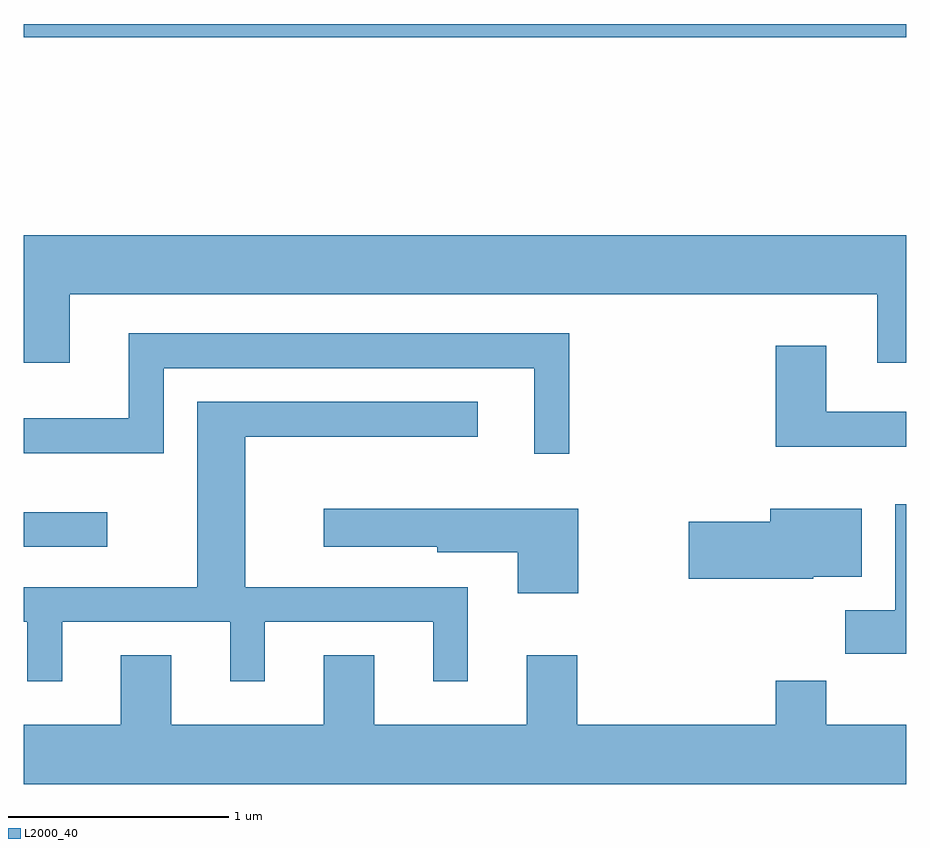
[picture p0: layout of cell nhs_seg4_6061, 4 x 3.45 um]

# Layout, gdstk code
import gdstk
lib = gdstk.Library(unit=1e-6, precision=1e-09)
def R(c, l, rs):  # rectangles x0, y0, x1, y1
    for r in rs: c.add(gdstk.rectangle(r[:2], r[2:], *l))
def P(c, l, *ps):  # polygons
    for p in ps: c.add(gdstk.Polygon(p, *l))
L2000_40 = (2000, 40)

nhs_seg4_6061 = lib.new_cell('nhs_seg4_6061')
R(nhs_seg4_6061, L2000_40, [(363.611,1273.611,363.988,1273.769), (363.611,1275.921,367.611,1275.982)])
P(nhs_seg4_6061, L2000_40, [(363.819,1274.756),(367.481,1274.756),(367.481,1274.446),(367.611,1274.446),(367.611,1275.024),(363.611,1275.024),(363.611,1274.446),(363.819,1274.446)],
  [(366.084,1274.579),(364.086,1274.579),(364.086,1274.194),(363.611,1274.194),(363.611,1274.036),(364.244,1274.036),(364.244,1274.421),(365.926,1274.421),(365.926,1274.033),(366.084,1274.033)],
  [(367.611,1274.224),(367.249,1274.224),(367.249,1274.524),(367.021,1274.524),(367.021,1274.066),(367.611,1274.066)],
  [(363.784,1273.271),(364.546,1273.271),(364.546,1273.003),(364.704,1273.003),(364.704,1273.271),(365.466,1273.271),(365.466,1273.003),(365.624,1273.003),(365.624,1273.429),(364.614,1273.429),(364.614,1274.111),(365.668,1274.111),(365.668,1274.269),(364.396,1274.269),(364.396,1273.429),(363.611,1273.429),(363.611,1273.271),(363.626,1273.271),(363.626,1273.003),(363.784,1273.003)],
  [(367.611,1273.804),(367.561,1273.804),(367.561,1273.324),(367.336,1273.324),(367.336,1273.126),(367.611,1273.126)],
  [(366.124,1273.784),(364.971,1273.784),(364.971,1273.611),(365.486,1273.611),(365.486,1273.586),(365.851,1273.586),(365.851,1273.401),(366.124,1273.401)],
  [(367.19,1273.476),(367.409,1273.476),(367.409,1273.784),(366.996,1273.784),(366.996,1273.724),(366.626,1273.724),(366.626,1273.466),(367.19,1273.466)],
  [(367.611,1272.804),(367.249,1272.804),(367.249,1273.004),(367.021,1273.004),(367.021,1272.804),(366.119,1272.804),(366.119,1273.119),(365.891,1273.119),(365.891,1272.804),(365.199,1272.804),(365.199,1273.119),(364.971,1273.119),(364.971,1272.804),(364.279,1272.804),(364.279,1273.119),(364.051,1273.119),(364.051,1272.804),(363.611,1272.804),(363.611,1272.536),(367.611,1272.536)])

lib.write_gds('nhs_seg4_6061.gds')
